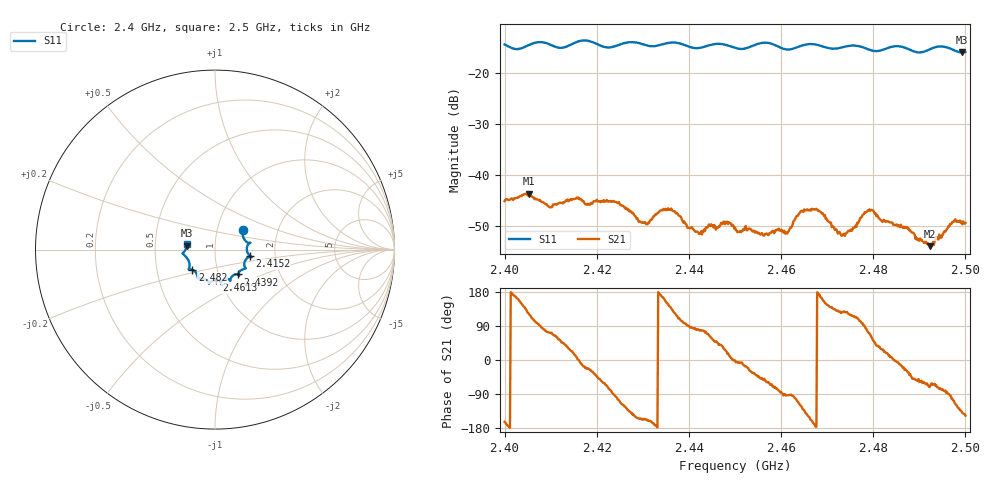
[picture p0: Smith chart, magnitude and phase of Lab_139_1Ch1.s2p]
# Hz S RI R 50
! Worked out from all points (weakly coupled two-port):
!   601 points, 2.4 GHz to 2.5 GHz, reference 50 ohm
!   highest |S21| = -43.61 dB at 2.4053 GHz (marker M1); lowest = -53.9 dB at 2.4923 GHz (marker M2)
!   lowest |S11| = -15.9 dB at 2.4993 GHz (marker M3), VSWR 1.38, Z = 36.3 + j1.58 ohm
!   |S11| at or under -10 dB: start of sweep to end of sweep
!   S12 and S22 are empty: the file has one direction only
!   S11 on the Smith chart (normalised r, x): 2.4 GHz: 1.33, +0.30; 2.4152 GHz: 1.48, -0.11; 2.4392 GHz: 1.24, -0.35; 2.4613 GHz: 0.96, -0.34; 2.482 GHz: 0.76, -0.18; 2.5 GHz: 0.73, +0.05
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2.4e9  0.1563 0.1103  -0.00532 -0.0016  0 0  0 0
2.405333e9  0.1855 0.0376  -0.00333 0.00569  0 0  0 0
2.409833e9  0.188 0.0333  0.00151 0.00458  0 0  0 0
2.415167e9  0.1946 -0.0366  0.00564 0.00139  0 0  0 0
2.416667e9  0.204 -0.0424  0.00558 -0.000998  0 0  0 0
2.424333e9  0.1636 -0.0888  -0.000842 -0.00536  0 0  0 0
2.4305e9  0.1531 -0.1104  -0.00317 -0.00138  0 0  0 0
2.433333e9  0.1323 -0.1323  -0.0043 6.05e-05  0 0  0 0
2.4365e9  0.1353 -0.1469  -0.00287 0.00339  0 0  0 0
2.439167e9  0.1273 -0.1383  -0.000364 0.00334  0 0  0 0
2.442333e9  0.0959 -0.1487  0.000589 0.00265  0 0  0 0
2.45e9  0.0683 -0.1634  0.00307 -6.03e-05  0 0  0 0
2.461333e9  0.00731 -0.1705  -0.000129 -0.00267  0 0  0 0
2.464e9  -0.027 -0.1811  -0.00188 -0.00379  0 0  0 0
2.466667e9  -0.0334 -0.1898  -0.00439 -0.00158  0 0  0 0
2.473333e9  -0.0807 -0.1601  -0.00154 0.0021  0 0  0 0
2.478667e9  -0.0992 -0.1415  0.000954 0.00428  0 0  0 0
2.482e9  -0.1263 -0.1122  0.00309 0.00158  0 0  0 0
2.483333e9  -0.1395 -0.11  0.00343 0.000737  0 0  0 0
2.492333e9  -0.1687 -0.0325  0.000695 -0.00189  0 0  0 0
2.499333e9  -0.1581 0.0212  -0.00251 -0.00213  0 0  0 0
2.5e9  -0.1576 0.0333  -0.00285 -0.00186  0 0  0 0
